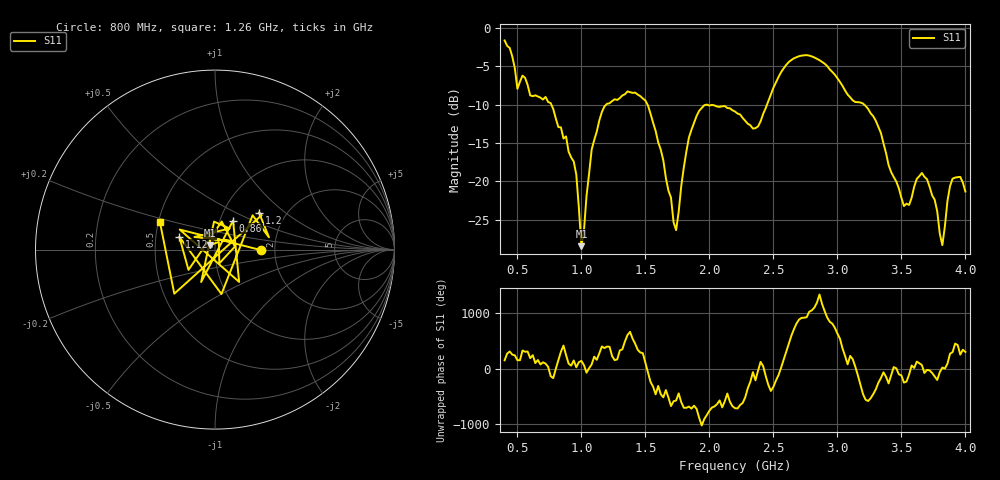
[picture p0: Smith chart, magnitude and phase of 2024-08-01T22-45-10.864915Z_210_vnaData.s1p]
!Created with skrf (http://scikit-rf.org).
# Hz S RI R 50.0
!freq ReS11 ImS11
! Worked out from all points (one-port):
!   181 points, 400 MHz to 4 GHz, reference 50 ohm
!   lowest |S11| = -28.5 dB at 1 GHz (marker M1), VSWR 1.08, Z = 47.1 + j2.25 ohm
!   |S11| at or under -10 dB: 1.517 GHz to 1.976 GHz (458.6 MHz wide, 26.3 % of centre); 1.983 GHz to 2.45 GHz (466.9 MHz wide, 21.1 % of centre); 3.21 GHz to end of sweep (the widest 3 of 4)
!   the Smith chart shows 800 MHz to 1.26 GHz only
!   S11 on the Smith chart (normalised r, x): 800 MHz: 1.69, -0.01; 860 MHz: 1.15, +0.39; 1.12 GHz: 0.66, +0.10; 1.2 GHz: 1.46, +0.67; 1.26 GHz: 0.51, +0.18
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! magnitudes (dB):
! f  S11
! 400 MHz  -1.6
! 500 MHz  -7.9
! 540 MHz  -6.2
! 800 MHz  -11.8
! 860 MHz  -14.4
! 960 MHz  -19.1
! 1 GHz  -28.5
! 1.08 GHz  -15.9
! 1.12 GHz  -13.5
! 1.2 GHz  -9.9
! 1.26 GHz  -9.3
! 1.3 GHz  -9.1
! 1.52 GHz  -10.1
! 1.72 GHz  -25.3
! 1.76 GHz  -24.0
! 1.84 GHz  -14.3
! 1.92 GHz  -10.8
! 2.2 GHz  -10.9
! 2.38 GHz  -12.8
! 2.66 GHz  -3.9
! 3.1 GHz  -9.0
! 3.3 GHz  -12.1
! 3.56 GHz  -23.1
! 3.66 GHz  -18.9
! 3.76 GHz  -22.4
! 3.82 GHz  -28.3
! 3.9 GHz  -19.6
! 4 GHz  -21.3
